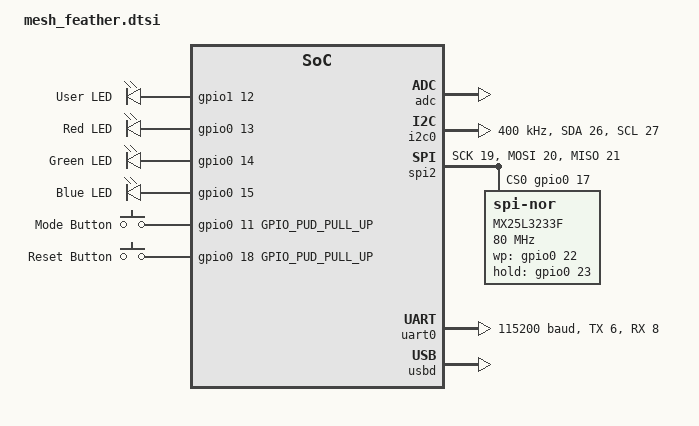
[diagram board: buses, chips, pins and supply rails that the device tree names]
/*
 * Copyright (c) 2018 Endre Karlson
 * Copyright (c) 2018 Peter Bigot Consulting, LLC
 *
 * SPDX-License-Identifier: Apache-2.0
 */

/* Assignments common to all Feather-based Particle mesh boards.
 *
 * NOTE: This file is replicated in particle_{argon,boron,xenon}.
 * Changes should be made in all instances. */

/ {
	aliases {
		led0 = &user_led;
		led1 = &status_red;
		led2 = &status_green;
		led3 = &status_blue;
		sw0 = &mode_button;
		sw1 = &reset_button;
	};

	chosen {
		zephyr,console = &uart0;
		zephyr,uart-mcumgr = &uart0;
		zephyr,shell-uart = &uart0;
		zephyr,sram = &sram0;
		zephyr,flash = &flash0;
		zephyr,code-partition = &slot0_partition;
	};

	leds {
		compatible = "gpio-leds";
		user_led: led_0 {
			gpios = <&gpio1 12 0>;
			label = "User LED";
		};
		status_red: led_1 {
			gpios = <&gpio0 13 0>;
			label = "Red LED";
		};
		status_green: led_2 {
			gpios = <&gpio0 14 0>;
			label = "Green LED";
		};
		status_blue: led_3 {
			gpios = <&gpio0 15 0>;
			label = "Blue LED";
		};
	};

	gpio_keys {
		compatible = "gpio-keys";
		mode_button: button_0 {
			gpios = <&gpio0 11 GPIO_PUD_PULL_UP>;
			label = "Mode Button";
		};

		reset_button: button_1 {
			gpios = <&gpio0 18 GPIO_PUD_PULL_UP>;
			label = "Reset Button";
		};
	};
};

&adc { /* feather ADC */
	status = "okay";
};


&flash0 {
	partitions {
		compatible = "fixed-partitions";
		#address-cells = <1>;
		#size-cells = <1>;

		boot_partition: partition@0 {
			label = "mcuboot";
			reg = <0x000000000 0x0000C000>;
		};
		slot0_partition: partition@c000 {
			label = "image-0";
			reg = <0x0000C000 0x000067000>;
		};
		slot1_partition: partition@73000 {
			label = "image-1";
			reg = <0x00073000 0x000067000>;
		};
		scratch_partition: partition@da000 {
			label = "image-scratch";
			reg = <0x000da000 0x0001e000>;
		};

		/*
		 * The flash starting at 0x000f8000 and ending at
		 * 0x000fffff is reserved for use by the application.
		 */

		/* Storage partition will be used by FCB/NFFS/NVS if enabled. */
		storage_partition: partition@f8000 {
			label = "storage";
			reg = <0x000f8000 0x00008000>;
		};
	};
};

&gpio0 {
	status = "okay";
};

&gpio1 {
	status = "okay";
};

&gpiote {
	status = "okay";
};

&i2c0 { /* feather I2C */
	compatible = "nordic,nrf-twi";
	status = "okay";
	clock-frequency = <I2C_BITRATE_FAST>;
	sda-pin = <26>;
	scl-pin = <27>;
};

/* TWI1 used on Boron; also see mesh_feather_spi1_spi1.dtsi */

&spi2 { /* dedicated MX25L */
	compatible = "nordic,nrf-spi";
	status = "okay";
	sck-pin = <19>;
	mosi-pin = <20>;
	miso-pin = <21>;
	cs-gpios = <&gpio0 17 0>;
	mx25l32: mx25l3233f@0 {
		compatible = "jedec,spi-nor";
		label = "MX25L3233F";
		reg = <0>;
		spi-max-frequency = <80000000>;
		wp-gpios = <&gpio0 22 0>;
		hold-gpios = <&gpio0 23 0>;
		size = <0x2000000>;
		has-be32k;
		jedec-id = [c2 20 16];
	};
};

/* see mesh_feather_spi1_spi3.dtsi */

&uart0 { /* feather UART1 */
	compatible = "nordic,nrf-uarte";
	current-speed = <115200>;
	status = "okay";
	tx-pin = <6>;
	rx-pin = <8>;
	/* optional mesh_feather_uart1_rtscts.dtsi */
};

&usbd {
	compatible = "nordic,nrf-usbd";
	status = "okay";
};
